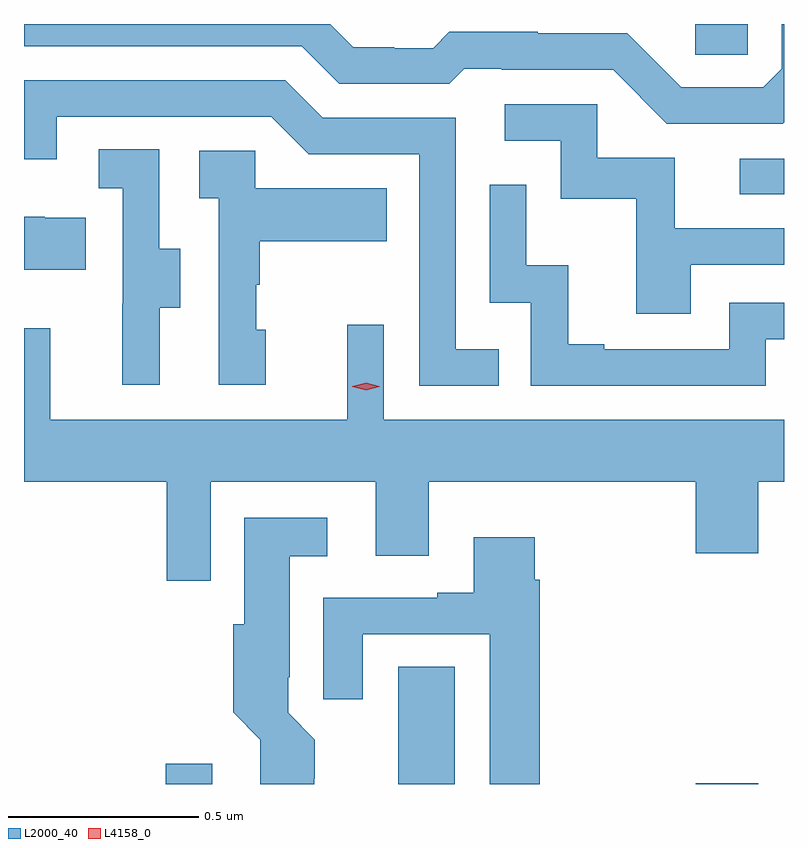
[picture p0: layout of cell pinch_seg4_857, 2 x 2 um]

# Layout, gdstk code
import gdstk
lib = gdstk.Library(unit=1e-6, precision=1e-09)
def R(c, l, rs):  # rectangles x0, y0, x1, y1
    for r in rs: c.add(gdstk.rectangle(r[:2], r[2:], *l))
def P(c, l, *ps):  # polygons
    for p in ps: c.add(gdstk.Polygon(p, *l))
L2000_40 = (2000, 40)
L4158_0 = (4158, 0)

pinch_seg4_857 = lib.new_cell('pinch_seg4_857')
R(pinch_seg4_857, L2000_40, [(858.917,794.693,859.039,794.746), (859.529,794.693,859.678,795.002), (860.312,794.693,860.476,794.695), (860.427,796.245,860.544,796.338), (860.311,796.612,860.448,796.693)])
P(pinch_seg4_857, L2000_40, [(860.544,796.434),(860.544,796.693),(860.538,796.693),(860.538,796.575),(860.49,796.527),(860.274,796.527),(860.132,796.669),(859.896,796.669),(859.896,796.672),(859.663,796.672),(859.621,796.629),(859.518,796.629),(859.518,796.632),(859.411,796.632),(859.35,796.693),(858.544,796.693),(858.544,796.635),(859.275,796.635),(859.374,796.536),(859.663,796.536),(859.702,796.575),(859.801,796.575),(859.801,796.572),(860.094,796.572),(860.235,796.431),(860.541,796.431)],
  [(859.793,795.837),(859.68,795.837),(859.68,796.446),(859.33,796.446),(859.231,796.545),(858.544,796.545),(858.544,796.337),(858.63,796.337),(858.63,796.449),(859.194,796.449),(859.293,796.35),(859.584,796.35),(859.584,795.741),(859.793,795.741)],
  [(860.299,796.059),(860.544,796.059),(860.544,796.155),(860.257,796.155),(860.257,796.341),(860.052,796.341),(860.052,796.482),(859.809,796.482),(859.809,796.386),(859.956,796.386),(859.956,796.233),(860.155,796.233),(860.155,795.93),(860.299,795.93)],
  [(858.901,795.946),(858.955,795.946),(858.955,796.101),(858.9,796.101),(858.9,796.364),(858.741,796.364),(858.741,796.261),(858.804,796.261),(858.804,795.957),(858.803,795.957),(858.803,795.744),(858.901,795.744)],
  [(859.18,795.888),(859.155,795.888),(859.155,796.007),(859.165,796.007),(859.165,796.121),(859.499,796.121),(859.499,796.261),(859.152,796.261),(859.152,796.359),(859.005,796.359),(859.005,796.235),(859.056,796.235),(859.056,795.744),(859.18,795.744)],
  [(860.496,795.864),(860.544,795.864),(860.544,795.96),(860.4,795.96),(860.4,795.837),(860.071,795.837),(860.071,795.85),(859.976,795.85),(859.976,796.058),(859.866,796.058),(859.866,796.27),(859.77,796.27),(859.77,795.96),(859.878,795.96),(859.878,795.741),(860.496,795.741)],
  [(858.707,796.183),(858.599,796.183),(858.599,796.186),(858.544,796.186),(858.544,796.046),(858.707,796.046)],
  [(859.035,795.488),(859.469,795.488),(859.469,795.294),(859.609,795.294),(859.609,795.488),(860.312,795.488),(860.312,795.3),(860.476,795.3),(860.476,795.488),(860.544,795.488),(860.544,795.652),(859.491,795.652),(859.491,795.901),(859.394,795.901),(859.394,795.652),(858.613,795.652),(858.613,795.892),(858.544,795.892),(858.544,795.488),(858.919,795.488),(858.919,795.228),(859.035,795.228)],
  [(859.308,794.708),(859.309,794.708),(859.309,794.81),(859.239,794.88),(859.239,794.974),(859.243,794.974),(859.243,795.293),(859.342,795.293),(859.342,795.394),(859.124,795.394),(859.124,795.114),(859.094,795.114),(859.094,794.882),(859.166,794.81),(859.166,794.693),(859.308,794.693)],
  [(859.901,795.23),(859.888,795.23),(859.888,795.343),(859.727,795.343),(859.727,795.196),(859.631,795.196),(859.631,795.183),(859.331,795.183),(859.331,794.916),(859.435,794.916),(859.435,795.087),(859.769,795.087),(859.769,794.693),(859.901,794.693)])
P(pinch_seg4_857, L4158_0, [(859.444,795.729),(859.408,795.739),(859.408,795.739),(859.408,795.74),(859.444,795.749),(859.479,795.74),(859.48,795.739),(859.479,795.739)])

lib.write_gds('pinch_seg4_857.gds')
